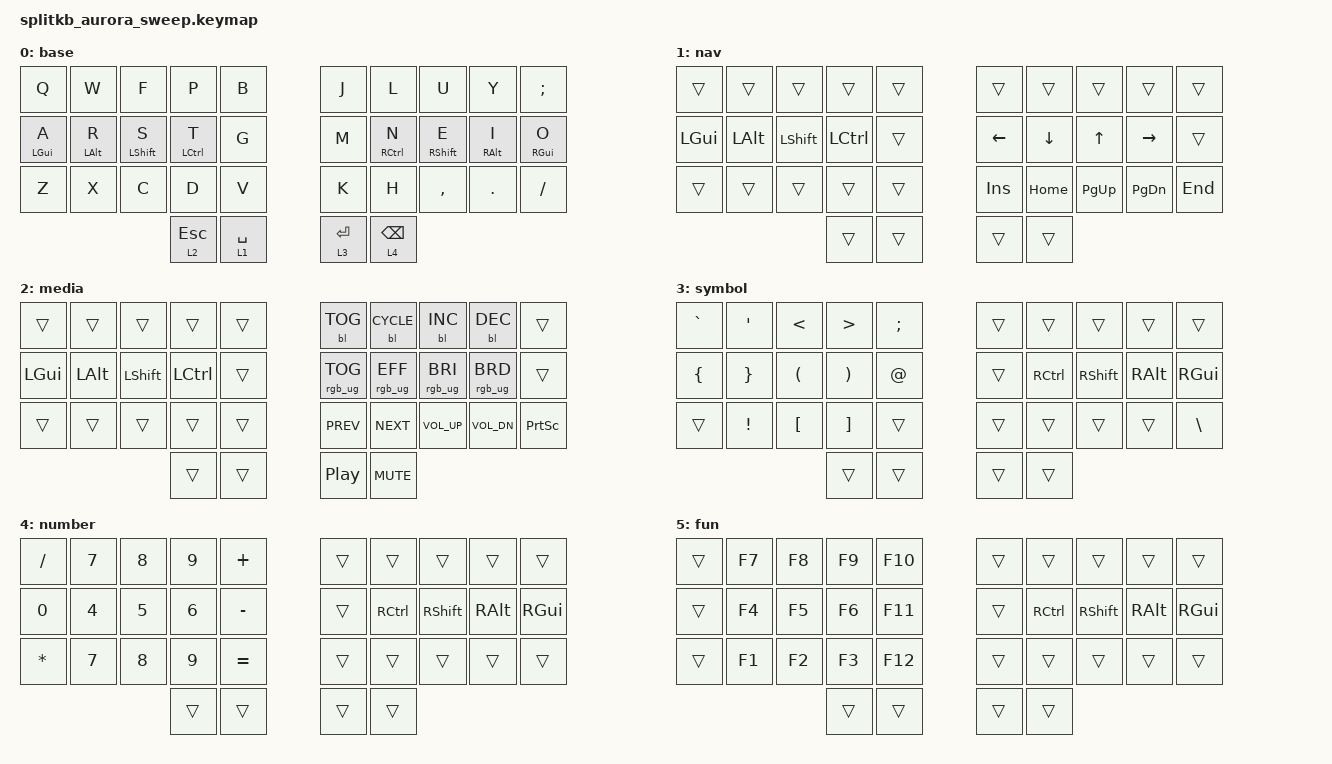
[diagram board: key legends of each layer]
#include <behaviors.dtsi>
#include <dt-bindings/zmk/backlight.h>
#include <dt-bindings/zmk/keys.h>
#include <dt-bindings/zmk/rgb.h>

&mt {
    //  flavor = "tap-preferred";
    // tapping-term-ms = <200>;
};

/ {
    combos {
        compatible = "zmk,combos";

        combo_tab {
            timeout-ms = <50>;
            key-positions = <30 31>;
            bindings = <&kp TAB>;
        };

        combo_del {
            bindings = <&lt 5 DEL>;
            key-positions = <32 33>;
        };

        grave-a-lower {
            bindings = <&grave_a_lower>;
            key-positions = <10 14>;
            layers = <0>;
        };
    };

    macros {
        grave_a_lower: grave_a_lower {
            compatible = "zmk,behavior-macro";
            #binding-cells = <0>;
            bindings =
                <&macro_tap>,
                <&kp LC(LS(U)) &kp KP_N0 &kp KP_N0 &kp E &kp KP_N0 &kp SPACE>;

            label = "GRAVE_A_LOWER";
        };
    };

    keymap {
        compatible = "zmk,keymap";

        base {
            bindings = <
&kp Q           &kp W           &kp F             &kp P        &kp B    &kp J  &kp L        &kp U              &kp Y            &kp SEMICOLON
&mt LEFT_GUI A  &mt LEFT_ALT R  &mt LEFT_SHIFT S  &mt LCTRL T  &kp G    &kp M  &mt RCTRL N  &mt RIGHT_SHIFT E  &mt RIGHT_ALT I  &mt RGUI O
&kp Z           &kp X           &kp C             &kp D        &kp V    &kp K  &kp H        &kp COMMA          &kp DOT          &kp SLASH
&lt 2 ESC       &lt 1 SPACE                                                                                    &lt 3 ENTER      &lt 4 BACKSPACE
            >;
        };

        nav {
            bindings = <
&trans    &trans    &trans     &trans     &trans    &trans    &trans    &trans       &trans         &trans
&kp LGUI  &kp LALT  &kp LSHFT  &kp LCTRL  &trans    &kp LEFT  &kp DOWN  &kp UP       &kp RIGHT      &trans
&trans    &trans    &trans     &trans     &trans    &kp INS   &kp HOME  &kp PAGE_UP  &kp PAGE_DOWN  &kp END
&trans    &trans                                                                     &trans         &trans
            >;
        };

        media {
            bindings = <
&trans    &trans    &trans     &trans     &trans    &bl BL_TOG       &bl BL_CYCLE     &bl BL_INC       &bl BL_DEC        &trans
&kp LGUI  &kp LALT  &kp LSHFT  &kp LCTRL  &trans    &rgb_ug RGB_TOG  &rgb_ug RGB_EFF  &rgb_ug RGB_BRI  &rgb_ug RGB_BRD   &trans
&trans    &trans    &trans     &trans     &trans    &kp C_PREV       &kp C_NEXT       &kp C_VOL_UP     &kp C_VOL_DN      &kp PRINTSCREEN
&trans    &trans                                                                                       &kp C_PLAY_PAUSE  &kp C_MUTE
            >;
        };

        symbol {
            bindings = <
&kp GRAVE  &kp APOS  &kp LESS_THAN  &kp GREATER_THAN  &kp SEMICOLON    &trans  &trans     &trans     &trans    &trans
&kp LBRC   &kp RBRC  &kp LPAR       &kp RPAR          &kp AT           &trans  &kp RCTRL  &kp RSHFT  &kp RALT  &kp RGUI
&trans     &kp EXCL  &kp LBKT       &kp RBKT          &trans           &trans  &trans     &trans     &trans    &kp BACKSLASH
&trans     &trans                                                                                    &trans    &trans
            >;
        };

        number {
            bindings = <
&kp SLASH     &kp N7  &kp N8  &kp N9  &kp PLUS     &trans  &trans     &trans     &trans    &trans
&kp N0        &kp N4  &kp N5  &kp N6  &kp MINUS    &trans  &kp RCTRL  &kp RSHFT  &kp RALT  &kp RGUI
&kp ASTERISK  &kp N7  &kp N8  &kp N9  &kp EQUAL    &trans  &trans     &trans     &trans    &trans
&trans        &trans                                                             &trans    &trans
            >;
        };

        fun {
            bindings = <
&trans  &kp F7  &kp F8  &kp F9  &kp F10    &trans  &trans     &trans     &trans    &trans
&trans  &kp F4  &kp F5  &kp F6  &kp F11    &trans  &kp RCTRL  &kp RSHFT  &kp RALT  &kp RGUI
&trans  &kp F1  &kp F2  &kp F3  &kp F12    &trans  &trans     &trans     &trans    &trans
&trans  &trans                                                           &trans    &trans
            >;
        };
    };
};
